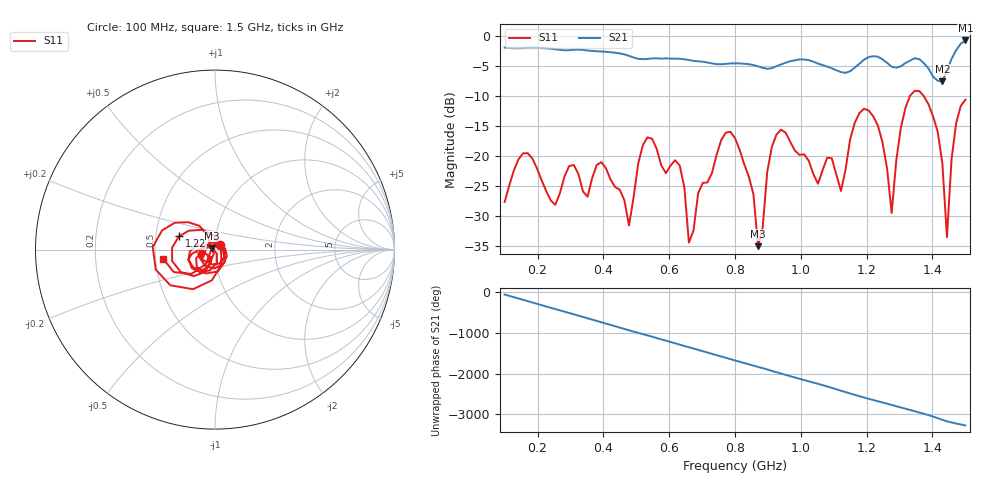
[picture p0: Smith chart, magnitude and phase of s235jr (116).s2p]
! NanoVNA-App
! Date: 2025-09-26 09:45:41
! Start: 100MHz Stop: 1,5GHz Points: 101
! S-Parameter data: F S11 S21 S12 S22
# Hz S RI R 50
!  Frequency  S11_Real  S11_Imag  S21_Real  S21_Imag  S12_Real  S12_Imag  S22_Real  S22_Imag
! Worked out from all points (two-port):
!   101 points, 100 MHz to 1.5 GHz, reference 50 ohm
!   highest |S21| = -0.78 dB at 1.5 GHz (marker M1); lowest = -7.6 dB at 1.43 GHz (marker M2)
!   |S21| within 3 dB of the highest: start of sweep to 502.5 MHz; 1.198 GHz to 1.244 GHz (45.35 MHz wide, 3.71 % of centre) (the widest 2 of 6)
!   lowest |S11| = -35.0 dB at 870 MHz (marker M3), VSWR 1.04, Z = 48.5 + j0.913 ohm
!   |S11| at or under -10 dB: start of sweep to 1.332 GHz; 1.373 GHz to end of sweep
!   S12 and S22 are empty: the file has one direction only
!   S11 on the Smith chart (normalised r, x): 100 MHz: 1.06, +0.06; 1.22 GHz: 0.66, +0.10; 1.5 GHz: 0.55, -0.06
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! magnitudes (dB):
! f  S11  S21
! 100 MHz  -27.6  -2.0
! 156 MHz  -19.5  -2.0
! 338 MHz  -25.9  -2.3
! 394 MHz  -21.0  -2.6
! 478 MHz  -31.5  -3.3
! 520 MHz  -18.2  -3.9
! 576 MHz  -21.5  -3.8
! 632 MHz  -21.6  -3.8
! 660 MHz  -34.4  -4.0
! 800 MHz  -17.0  -4.6
! 870 MHz  -35.0  -5.1
! 926 MHz  -16.4  -5.1
! 1.038 GHz  -23.0  -4.3
! 1.122 GHz  -25.8  -6.0
! 1.22 GHz  -13.4  -3.4
! 1.276 GHz  -29.5  -5.1
! 1.304 GHz  -15.3  -5.1
! 1.346 GHz  -9.2  -3.7
! 1.43 GHz  -21.2  -7.6
! 1.444 GHz  -33.5  -5.8
! 1.472 GHz  -14.5  -2.4
! 1.5 GHz  -10.6  -0.8
